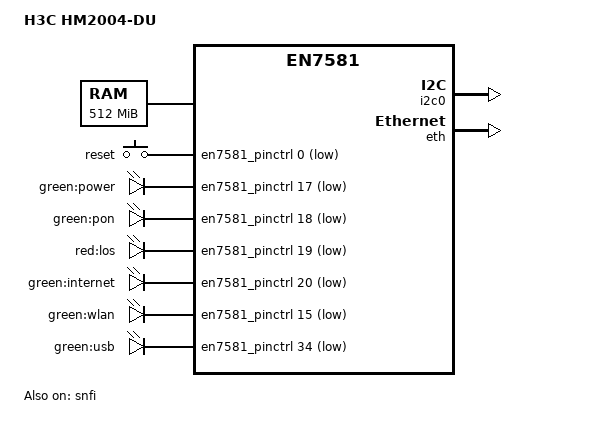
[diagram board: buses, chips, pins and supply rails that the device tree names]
// SPDX-License-Identifier: (GPL-2.0-only OR BSD-2-Clause)
/dts-v1/;

/* BL2 and TF-A reserve the first 2 MiB of DRAM. */
/memreserve/ 0x80000000 0x200000;

#include <dt-bindings/gpio/gpio.h>
#include <dt-bindings/input/input.h>
#include "en7581.dtsi"

/*
 * H3C HM2004-DU (联通定制 FTTR 主网关，AN7581CT).
 *
 *  - Winbond W25N02KV 256 MiB SPI NAND; BL2 occupies the first 128 KiB,
 *    everything after it is one UBI blob.
 *  - Board data lives in the 1 MiB "factory" UBI volume (the H3C factory
 *    layout built by the h3c-factory tool from the stock reservearea).
 *  - Panel LEDs: power / pon / los(red) / internet / wlan / usb, all GPIO.
 *  - lan1 hangs off gdm4 through an EN8811H 2.5G PHY on the switch MDIO;
 *    lan2-4 are the internal GE PHYs.
 */

/ {
	model = "H3C HM2004-DU";
	compatible = "h3c,hm2004-du", "airoha,an7581", "airoha,en7581";

	aliases {
		serial0 = &uart1;
	};

	chosen {
		stdout-path = "serial0:115200n8";
	};

	options {
		u-boot {
			compatible = "u-boot,config";
			/* Web recovery LED chase, in this order; red stays out. */
			httpd-chase-leds = <&led_power &led_pon &led_internet &led_wlan>;
		};
	};

	/* 512 MiB fallback; dram_init() probes and fixups the real size. */
	memory@80000000 {
		device_type = "memory";
		reg = <0x0 0x80000000 0x0 0x20000000>;
	};

	keys {
		compatible = "gpio-keys";

		key-reset {
			label = "reset";
			linux,code = <KEY_RESTART>;
			gpios = <&en7581_pinctrl 0 GPIO_ACTIVE_LOW>;
		};
	};

	leds {
		compatible = "gpio-leds";

		led_power: led-power {
			label = "green:power";
			gpios = <&en7581_pinctrl 17 GPIO_ACTIVE_LOW>;
		};

		led_pon: led-pon {
			label = "green:pon";
			gpios = <&en7581_pinctrl 18 GPIO_ACTIVE_LOW>;
		};

		led-los {
			label = "red:los";
			gpios = <&en7581_pinctrl 19 GPIO_ACTIVE_LOW>;
		};

		led_internet: led-internet {
			label = "green:internet";
			gpios = <&en7581_pinctrl 20 GPIO_ACTIVE_LOW>;
		};

		led_wlan: led-wlan {
			label = "green:wlan";
			gpios = <&en7581_pinctrl 15 GPIO_ACTIVE_LOW>;
		};

		led-usb {
			label = "green:usb";
			gpios = <&en7581_pinctrl 34 GPIO_ACTIVE_LOW>;
		};
	};
};

&en7581_pinctrl {
	gpio-ranges = <&en7581_pinctrl 0 13 50>;
};

&snfi {
	status = "okay";
};

&spi_nand {
	/* Explicit on purpose: probe order has been flaky without it here. */
	compatible = "winbond,w25n02kv", "spi-nand";

	partitions {
		compatible = "fixed-partitions";
		#address-cells = <1>;
		#size-cells = <1>;

		partition@0 {
			label = "bl2";
			reg = <0x0 0x20000>;
		};

		partition@20000 {
			label = "ubi";
			reg = <0x20000 0xffe0000>;
		};
	};
};

&i2c0 {
	status = "okay";
};

&eth {
	status = "okay";
};
